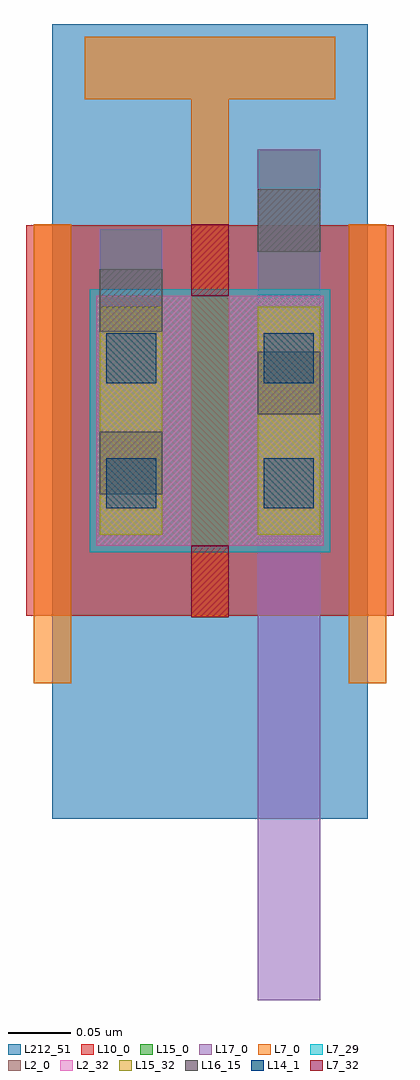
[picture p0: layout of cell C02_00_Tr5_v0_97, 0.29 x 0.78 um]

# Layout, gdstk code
import gdstk
lib = gdstk.Library(unit=1e-6, precision=1e-09)
def R(c, l, rs):  # rectangles x0, y0, x1, y1
    for r in rs: c.add(gdstk.rectangle(r[:2], r[2:], *l))
L2_0 = (2, 0)
L2_32 = (2, 32)
L7_0 = (7, 0)
L7_29 = (7, 29)
L7_32 = (7, 32)
L10_0 = (10, 0)
L14_1 = (14, 1)
L15_0 = (15, 0)
L15_32 = (15, 32)
L16_15 = (16, 15)
L17_0 = (17, 0)
L212_51 = (212, 51)

c02_00_tr5_v0_97_srf_pmo = lib.new_cell('C02_00_Tr5_v0_97:SRF_Pmos:SRF_Source_ViaM1M2:SRF_ViaM1M2')
R(c02_00_tr5_v0_97_srf_pmo, L15_0, [(0,-0.162,0.05,0.082)])
R(c02_00_tr5_v0_97_srf_pmo, L16_15, [(0,-0.13,0.05,-0.08), (0,0,0.05,0.05)])
R(c02_00_tr5_v0_97_srf_pmo, L17_0, [(0,-0.162,0.05,0.082)])

c_c02_00_tr5_v0_97_srf_pmo = lib.new_cell('C02_00_Tr5_v0_97:SRF_Pmos:SRF_Source_ViaM1M2')
c_c02_00_tr5_v0_97_srf_pmo.add(gdstk.Reference(c02_00_tr5_v0_97_srf_pmo, (-0.025,0.04)))

c_c02_00_tr5_v0_97_srf_pmo_ = lib.new_cell('C02_00_Tr5_v0_97:SRF_Pmos:SRF_Drain_ViaM1M2:SRF_ViaM1M2')
R(c_c02_00_tr5_v0_97_srf_pmo_, L15_0, [(0,-0.162,0.05,0.082)])
R(c_c02_00_tr5_v0_97_srf_pmo_, L16_15, [(0,-0.13,0.05,-0.08), (0,0,0.05,0.05)])
R(c_c02_00_tr5_v0_97_srf_pmo_, L17_0, [(0,-0.162,0.05,0.082)])

c_c02_00_tr5_v0_97_srf_pmo__ = lib.new_cell('C02_00_Tr5_v0_97:SRF_Pmos:SRF_Drain_ViaM1M2')
c_c02_00_tr5_v0_97_srf_pmo__.add(gdstk.Reference(c_c02_00_tr5_v0_97_srf_pmo_, (-0.025,0.04)))

c_c02_00_tr5_v0_97_srf_pmo___ = lib.new_cell('C02_00_Tr5_v0_97:SRF_Pmos')
R(c_c02_00_tr5_v0_97_srf_pmo___, L2_0, [(-0.076,0.057,0.106,0.257)])
R(c_c02_00_tr5_v0_97_srf_pmo___, L2_32, [(-0.076,0.057,0,0.257), (0.03,0.057,0.106,0.257)])
R(c_c02_00_tr5_v0_97_srf_pmo___, L7_0, [(-0.126,-0.053,-0.096,0.314), (0.126,-0.053,0.156,0.314), (0,0,0.03,0.314)])
R(c_c02_00_tr5_v0_97_srf_pmo___, L7_29, [(-0.081,0.052,0.111,0.262)])
R(c_c02_00_tr5_v0_97_srf_pmo___, L7_32, [(0,0,0.03,0.057), (0,0.257,0.03,0.314)])
R(c_c02_00_tr5_v0_97_srf_pmo___, L10_0, [(-0.132,0.001,0.162,0.313)])
R(c_c02_00_tr5_v0_97_srf_pmo___, L14_1, [(-0.068,0.087,-0.028,0.127), (0.058,0.087,0.098,0.127), (-0.068,0.187,-0.028,0.227), (0.058,0.187,0.098,0.227)])
R(c_c02_00_tr5_v0_97_srf_pmo___, L15_0, [(-0.073,0.066,-0.023,0.248), (-0.073,0.066,-0.023,0.248), (0.053,0.066,0.103,0.248), (0.053,0.066,0.103,0.248)])
R(c_c02_00_tr5_v0_97_srf_pmo___, L15_32, [(-0.073,0.066,-0.023,0.248), (0.053,0.066,0.103,0.248)])
R(c_c02_00_tr5_v0_97_srf_pmo___, L212_51, [(-0.111,-0.161,0.141,0.474)])
c_c02_00_tr5_v0_97_srf_pmo___.add(gdstk.Reference(c_c02_00_tr5_v0_97_srf_pmo, (-0.048,0.188)))
c_c02_00_tr5_v0_97_srf_pmo___.add(gdstk.Reference(c_c02_00_tr5_v0_97_srf_pmo__, (0.078,0.252)))

c02_00_tr5_v0_97 = lib.new_cell('C02_00_Tr5_v0_97')
R(c02_00_tr5_v0_97, L7_0, [(0,0.314,0.03,0.414), (-0.085,0.414,0.115,0.464)])
R(c02_00_tr5_v0_97, L17_0, [(0.053,-0.306,0.103,-0.256), (0.053,-0.256,0.103,0.13)])
c02_00_tr5_v0_97.add(gdstk.Reference(c_c02_00_tr5_v0_97_srf_pmo___, (0,0)))

lib.write_gds('C02_00_Tr5_v0_97.gds')
